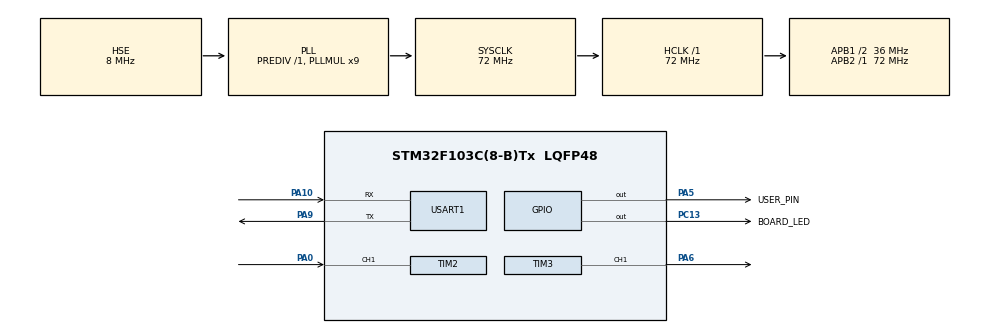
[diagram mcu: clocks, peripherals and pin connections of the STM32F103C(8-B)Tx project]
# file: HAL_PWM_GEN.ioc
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Mcu.Family=STM32F1
Mcu.Name=STM32F103C(8-B)Tx
Mcu.Package=LQFP48
NVIC.PriorityGroup=NVIC_PRIORITYGROUP_4
NVIC.USART1_IRQn=true\:0\:0\:false\:false\:true\:true\:true\:true
PA0-WKUP.Signal=S_TIM2_CH1_ETR
PA10.Mode=Asynchronous
PA10.Signal=USART1_RX
PA5.GPIO_Label=USER_PIN
PA5.PinState=GPIO_PIN_RESET
PA5.Signal=GPIO_Output
PA6.Signal=S_TIM3_CH1
PA9.Mode=Asynchronous
PA9.Signal=USART1_TX
PC13-TAMPER-RTC.GPIO_Label=BOARD_LED
PC13-TAMPER-RTC.Signal=GPIO_Output
PD0-OSC_IN.Mode=HSE-External-Oscillator
PD0-OSC_IN.Signal=RCC_OSC_IN
PD1-OSC_OUT.Mode=HSE-External-Oscillator
PD1-OSC_OUT.Signal=RCC_OSC_OUT
ProjectManager.HeapSize=0x200
ProjectManager.StackSize=0x400
ProjectManager.TargetToolchain=STM32CubeIDE
RCC.AHBFreq_Value=72000000
RCC.APB1CLKDivider=RCC_HCLK_DIV2
RCC.APB1Freq_Value=36000000
RCC.APB1TimFreq_Value=72000000
RCC.APB2Freq_Value=72000000
RCC.APB2TimFreq_Value=72000000
RCC.HCLKFreq_Value=72000000
RCC.PLLMUL=RCC_PLL_MUL9
RCC.PLLSourceVirtual=RCC_PLLSOURCE_HSE
RCC.SYSCLKFreq_VALUE=72000000
RCC.SYSCLKSource=RCC_SYSCLKSOURCE_PLLCLK
RCC.USBFreq_Value=72000000
SH.S_TIM2_CH1_ETR.0=TIM2_CH1,Input_Capture1_from_TI1
SH.S_TIM3_CH1.0=TIM3_CH1,PWM Generation1 CH1
TIM2.AutoReloadPreload=TIM_AUTORELOAD_PRELOAD_ENABLE
TIM2.Channel-Input_Capture1_from_TI1=TIM_CHANNEL_1
TIM3.AutoReloadPreload=TIM_AUTORELOAD_PRELOAD_ENABLE
TIM3.Channel-PWM\ Generation1\ CH1=TIM_CHANNEL_1
TIM3.Period=1000
TIM3.Prescaler=72-1
USART1.VirtualMode=VM_ASYNC
VP_TIM2_VS_ClockSourceINT.Mode=Internal
VP_TIM3_VS_ClockSourceINT.Mode=Internal
board=custom

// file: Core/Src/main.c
/* USER CODE BEGIN Header */
/**
  ******************************************************************************
  * @file           : main.c
  * @brief          : Main program body
  ******************************************************************************
  * @attention
  *
  * Copyright (c) 2023 STMicroelectronics.
  * All rights reserved.
  *
  * This software is licensed under terms that can be found in the LICENSE file
  * in the root directory of this software component.
  * If no LICENSE file comes with this software, it is provided AS-IS.
  *
  ******************************************************************************
  */
/* USER CODE END Header */
#include "main.h"

/* USER CODE BEGIN PD */
#define IDLE   0
#define DONE   1
#define F_CLK  72000000UL
/* USER CODE END PD */

TIM_HandleTypeDef htim2;
TIM_HandleTypeDef htim3;

UART_HandleTypeDef huart1;

void SystemClock_Config(void);
static void MX_GPIO_Init(void);
static void MX_TIM2_Init(void);
static void MX_USART1_UART_Init(void);
static void MX_TIM3_Init(void);

/* USER CODE BEGIN 0 */
uint8_t Buffer[25] = { 0 };
uint8_t recvd_data;
uint8_t data_buffer[100];
uint8_t transmit_buffer[100];
uint32_t count = 0;

volatile uint8_t gu8_State = IDLE;
volatile uint8_t gu8_MSG[35] = {'\0'};
volatile uint32_t gu32_T1 = 0;
volatile uint32_t gu32_T2 = 0;
volatile uint32_t gu32_Ticks = 0;
volatile uint16_t gu16_TIM2_OVC = 0;
volatile uint32_t gu32_Freq = 0;
/* USER CODE END 0 */

int main(void)
{
  /* USER CODE BEGIN 1 */
	int32_t CH1_DC = 0;
  /* USER CODE END 1 */

  /* MCU Configuration--------------------------------------------------------*/

  /* Reset of all peripherals, Initializes the Flash interface and the Systick. */
  HAL_Init();

  /* Configure the system clock */
  SystemClock_Config();

  /* Initialize all configured peripherals */
  MX_GPIO_Init();
  MX_TIM2_Init();
  MX_USART1_UART_Init();
  MX_TIM3_Init();
  /* USER CODE BEGIN 2 */
  HAL_TIM_Base_Start_IT(&htim2);
  HAL_TIM_IC_Start_IT(&htim2, TIM_CHANNEL_1);

  TIM3->CCR1 = 500;
  HAL_TIM_PWM_Start(&htim3, TIM_CHANNEL_1);

  HAL_UART_Receive_IT(&huart1, &recvd_data, 1);

  uint8_t transmit_buffer[100];
  memset(transmit_buffer, 0, 100);
  uint32_t length = snprintf(transmit_buffer, 100, "Start");
  transmit_buffer[length++] = '\n';
  transmit_buffer[length++] = '\r';
  HAL_UART_Transmit(&huart1, transmit_buffer, length, HAL_MAX_DELAY);

  /* USER CODE END 2 */

  /* Infinite loop */
  while (1)
  {

    /* USER CODE BEGIN 3 */
	/*while(CH1_DC < 1000)
	{
	  TIM1->CCR1 = CH1_DC;
	  CH1_DC += 20;
	  HAL_Delay(1);
	}
	while(CH1_DC > 0)
	{
	  TIM1->CCR1 = CH1_DC;
	  CH1_DC -= 20;
	  HAL_Delay(1);
	}*/
  }
  /* USER CODE END 3 */
}

void SystemClock_Config(void)
{
  RCC_OscInitTypeDef RCC_OscInitStruct = {0};
  RCC_ClkInitTypeDef RCC_ClkInitStruct = {0};

  /** Initializes the RCC Oscillators according to the specified parameters
  * in the RCC_OscInitTypeDef structure.
  */
  RCC_OscInitStruct.OscillatorType = RCC_OSCILLATORTYPE_HSE;
  RCC_OscInitStruct.HSEState = RCC_HSE_ON;
  RCC_OscInitStruct.HSEPredivValue = RCC_HSE_PREDIV_DIV1;
  RCC_OscInitStruct.HSIState = RCC_HSI_ON;
  RCC_OscInitStruct.PLL.PLLState = RCC_PLL_ON;
  RCC_OscInitStruct.PLL.PLLSource = RCC_PLLSOURCE_HSE;
  RCC_OscInitStruct.PLL.PLLMUL = RCC_PLL_MUL9;
  if (HAL_RCC_OscConfig(&RCC_OscInitStruct) != HAL_OK)
  {
    Error_Handler();
  }

  /** Initializes the CPU, AHB and APB buses clocks
  */
  RCC_ClkInitStruct.ClockType = RCC_CLOCKTYPE_HCLK|RCC_CLOCKTYPE_SYSCLK
                              |RCC_CLOCKTYPE_PCLK1|RCC_CLOCKTYPE_PCLK2;
  RCC_ClkInitStruct.SYSCLKSource = RCC_SYSCLKSOURCE_PLLCLK;
  RCC_ClkInitStruct.AHBCLKDivider = RCC_SYSCLK_DIV1;
  RCC_ClkInitStruct.APB1CLKDivider = RCC_HCLK_DIV2;
  RCC_ClkInitStruct.APB2CLKDivider = RCC_HCLK_DIV1;

  if (HAL_RCC_ClockConfig(&RCC_ClkInitStruct, FLASH_LATENCY_2) != HAL_OK)
  {
    Error_Handler();
  }
}

static void MX_TIM2_Init(void)
{

  TIM_ClockConfigTypeDef sClockSourceConfig = {0};
  TIM_MasterConfigTypeDef sMasterConfig = {0};
  TIM_IC_InitTypeDef sConfigIC = {0};

  htim2.Instance = TIM2;
  htim2.Init.Prescaler = 0;
  htim2.Init.CounterMode = TIM_COUNTERMODE_UP;
  htim2.Init.Period = 65535;
  htim2.Init.ClockDivision = TIM_CLOCKDIVISION_DIV1;
  htim2.Init.AutoReloadPreload = TIM_AUTORELOAD_PRELOAD_ENABLE;
  if (HAL_TIM_Base_Init(&htim2) != HAL_OK)
  {
    Error_Handler();
  }
  sClockSourceConfig.ClockSource = TIM_CLOCKSOURCE_INTERNAL;
  if (HAL_TIM_ConfigClockSource(&htim2, &sClockSourceConfig) != HAL_OK)
  {
    Error_Handler();
  }
  if (HAL_TIM_IC_Init(&htim2) != HAL_OK)
  {
    Error_Handler();
  }
  sMasterConfig.MasterOutputTrigger = TIM_TRGO_RESET;
  sMasterConfig.MasterSlaveMode = TIM_MASTERSLAVEMODE_DISABLE;
  if (HAL_TIMEx_MasterConfigSynchronization(&htim2, &sMasterConfig) != HAL_OK)
  {
    Error_Handler();
  }
  sConfigIC.ICPolarity = TIM_INPUTCHANNELPOLARITY_RISING;
  sConfigIC.ICSelection = TIM_ICSELECTION_DIRECTTI;
  sConfigIC.ICPrescaler = TIM_ICPSC_DIV1;
  sConfigIC.ICFilter = 0;
  if (HAL_TIM_IC_ConfigChannel(&htim2, &sConfigIC, TIM_CHANNEL_1) != HAL_OK)
  {
    Error_Handler();
  }

}

static void MX_TIM3_Init(void)
{

  TIM_ClockConfigTypeDef sClockSourceConfig = {0};
  TIM_MasterConfigTypeDef sMasterConfig = {0};
  TIM_OC_InitTypeDef sConfigOC = {0};

  htim3.Instance = TIM3;
  htim3.Init.Prescaler = 72-1;
  htim3.Init.CounterMode = TIM_COUNTERMODE_UP;
  htim3.Init.Period = 1000;
  htim3.Init.ClockDivision = TIM_CLOCKDIVISION_DIV1;
  htim3.Init.AutoReloadPreload = TIM_AUTORELOAD_PRELOAD_ENABLE;
  if (HAL_TIM_Base_Init(&htim3) != HAL_OK)
  {
    Error_Handler();
  }
  sClockSourceConfig.ClockSource = TIM_CLOCKSOURCE_INTERNAL;
  if (HAL_TIM_ConfigClockSource(&htim3, &sClockSourceConfig) != HAL_OK)
  {
    Error_Handler();
  }
  if (HAL_TIM_PWM_Init(&htim3) != HAL_OK)
  {
    Error_Handler();
  }
  sMasterConfig.MasterOutputTrigger = TIM_TRGO_RESET;
  sMasterConfig.MasterSlaveMode = TIM_MASTERSLAVEMODE_DISABLE;
  if (HAL_TIMEx_MasterConfigSynchronization(&htim3, &sMasterConfig) != HAL_OK)
  {
    Error_Handler();
  }
  sConfigOC.OCMode = TIM_OCMODE_PWM1;
  sConfigOC.Pulse = 0;
  sConfigOC.OCPolarity = TIM_OCPOLARITY_HIGH;
  sConfigOC.OCFastMode = TIM_OCFAST_DISABLE;
  if (HAL_TIM_PWM_ConfigChannel(&htim3, &sConfigOC, TIM_CHANNEL_1) != HAL_OK)
  {
    Error_Handler();
  }
  HAL_TIM_MspPostInit(&htim3);

}

static void MX_USART1_UART_Init(void)
{

  huart1.Instance = USART1;
  huart1.Init.BaudRate = 115200;
  huart1.Init.WordLength = UART_WORDLENGTH_8B;
  huart1.Init.StopBits = UART_STOPBITS_1;
  huart1.Init.Parity = UART_PARITY_NONE;
  huart1.Init.Mode = UART_MODE_TX_RX;
  huart1.Init.HwFlowCtl = UART_HWCONTROL_NONE;
  huart1.Init.OverSampling = UART_OVERSAMPLING_16;
  if (HAL_UART_Init(&huart1) != HAL_OK)
  {
    Error_Handler();
  }

}

static void MX_GPIO_Init(void)
{
  GPIO_InitTypeDef GPIO_InitStruct = {0};

  /* GPIO Ports Clock Enable */
  __HAL_RCC_GPIOC_CLK_ENABLE();
  __HAL_RCC_GPIOD_CLK_ENABLE();
  __HAL_RCC_GPIOA_CLK_ENABLE();

  /*Configure GPIO pin Output Level */
  HAL_GPIO_WritePin(BOARD_LED_GPIO_Port, BOARD_LED_Pin, GPIO_PIN_RESET);

  /*Configure GPIO pin Output Level */
  HAL_GPIO_WritePin(USER_PIN_GPIO_Port, USER_PIN_Pin, GPIO_PIN_RESET);

  /*Configure GPIO pin : BOARD_LED_Pin */
  GPIO_InitStruct.Pin = BOARD_LED_Pin;
  GPIO_InitStruct.Mode = GPIO_MODE_OUTPUT_PP;
  GPIO_InitStruct.Pull = GPIO_NOPULL;
  GPIO_InitStruct.Speed = GPIO_SPEED_FREQ_LOW;
  HAL_GPIO_Init(BOARD_LED_GPIO_Port, &GPIO_InitStruct);

  /*Configure GPIO pin : USER_PIN_Pin */
  GPIO_InitStruct.Pin = USER_PIN_Pin;
  GPIO_InitStruct.Mode = GPIO_MODE_OUTPUT_PP;
  GPIO_InitStruct.Pull = GPIO_NOPULL;
  GPIO_InitStruct.Speed = GPIO_SPEED_FREQ_LOW;
  HAL_GPIO_Init(USER_PIN_GPIO_Port, &GPIO_InitStruct);

}

/* USER CODE BEGIN 4 */
void Serial_Interpreter(char *data_buffer, uint32_t count)
{
	if (count > 1)
	{
		char *end;
		uint32_t decValue = strtoul(data_buffer+1, &end, 10);

		if (data_buffer[0] == 'F' || data_buffer[0] == 'f')
		{
			// pre-scaler = 72-1 = 1 MHz
			// and assume frequency input is in kHz
			// 1 kHz = 1 MHz / (1000)  ARR -> 1000
			// 10 kHz = 1 MHz / (100)  ARR -> 100
			if (decValue < 65536)
			{
				uint32_t setValue = 1000 / decValue;

				TIM3->ARR = setValue;
				//50 cycle calculation
				TIM3->CCR1 = 500 / decValue;
			}
		}

		if (data_buffer[0] == 'D' || data_buffer[0] == 'd')
		{
			TIM3->CCR1 = decValue;
		}
	}

	if (data_buffer[0] == 'T' || data_buffer[0] == 't')
	{
		HAL_GPIO_TogglePin(USER_PIN_GPIO_Port, USER_PIN_Pin);
		HAL_GPIO_TogglePin(BOARD_LED_GPIO_Port, BOARD_LED_Pin);
	}
}

void HAL_UART_RxCpltCallback(UART_HandleTypeDef *huart) {

	//HAL_UART_Transmit(huart, &recvd_data, 1, HAL_MAX_DELAY);
	if (recvd_data == '\r') //when enter is pressed go to this condition
	{

		char *end;
		//uint32_t dacValue = strtoul(data_buffer, &end, 10);
		Serial_Interpreter(data_buffer, count);

		data_buffer[count++] = '\r';
		data_buffer[count++] = '\n';
		HAL_UART_Transmit(huart, data_buffer, count, HAL_MAX_DELAY); //transmit the full sentence again
		memset(data_buffer, 0, count); // empty the data buffer
		count = 0;

	} else {
		data_buffer[count++] = recvd_data; // every time when interrput is happen, received 1 byte of data
		//HAL_UART_Transmit(huart, recvd_data, 1, HAL_MAX_DELAY);
	}

	HAL_UART_Receive_IT(&huart1, &recvd_data, 1); //start next data receive interrupt
}

void HAL_TIM_IC_CaptureCallback(TIM_HandleTypeDef* htim)
{
    if(gu8_State == IDLE)
    {
        gu32_T1 = TIM2->CCR1;
        gu16_TIM2_OVC = 0;
        gu8_State = DONE;
        //sprintf(gu8_MSG, "Stay idle ..\n\r");
        //HAL_UART_Transmit(&huart1, gu8_MSG, sizeof(gu8_MSG), 100);
    }
    else if(gu8_State == DONE)
    {
        //gu32_T2 = TIM2->CCR1;
        //gu32_Ticks = (gu32_T2 + (gu16_TIM2_OVC * 65536)) - gu32_T1;
        //gu32_Freq = (uint32_t)(F_CLK/gu32_Ticks);

    	// high fre code
    	gu32_Freq = (uint32_t)(F_CLK/(TIM2->CCR1 - gu32_T1));
        if(gu32_Freq != 0)
        {
          sprintf(gu8_MSG, "Frequency = %lu Hz\n\r", gu32_Freq);
          HAL_UART_Transmit(&huart1, gu8_MSG, sizeof(gu8_MSG), 100);
          HAL_Delay(1000);
        }
        gu8_State = IDLE;
    }
}

void HAL_TIM_PeriodElapsedCallback(TIM_HandleTypeDef* htim)
{
	// this is useful only for low frequencies where, < 65536 Hz
    gu16_TIM2_OVC++;
}
/* USER CODE END 4 */

void Error_Handler(void)
{
  __disable_irq();
  while (1)
  {
  }
}
